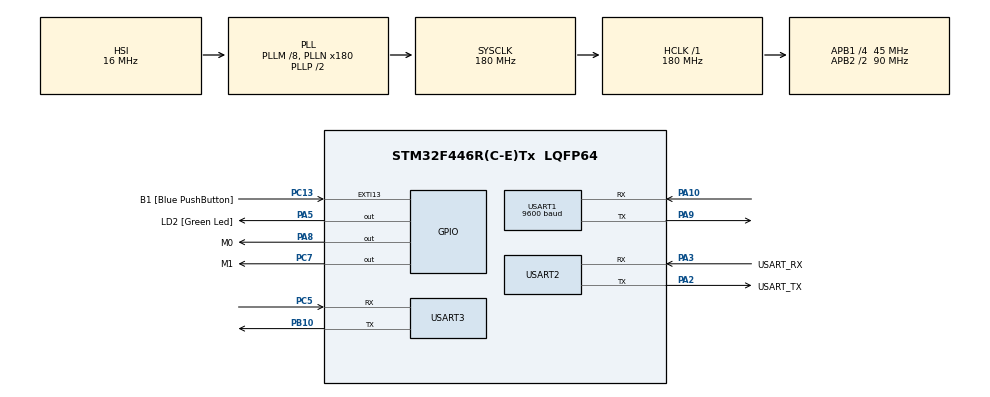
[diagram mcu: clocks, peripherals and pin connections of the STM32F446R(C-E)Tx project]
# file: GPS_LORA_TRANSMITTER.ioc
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Mcu.Family=STM32F4
Mcu.Name=STM32F446R(C-E)Tx
Mcu.Package=LQFP64
NVIC.PriorityGroup=NVIC_PRIORITYGROUP_0
NVIC.USART1_IRQn=true\:0\:0\:false\:false\:true\:true\:true\:true
NVIC.USART3_IRQn=true\:0\:0\:false\:false\:true\:true\:true\:true
PA10.Mode=Asynchronous
PA10.Signal=USART1_RX
PA13.GPIO_Label=TMS
PA13.Mode=Serial_Wire
PA13.Signal=SYS_JTMS-SWDIO
PA14.GPIO_Label=TCK
PA14.Mode=Serial_Wire
PA14.Signal=SYS_JTCK-SWCLK
PA2.GPIO_Label=USART_TX
PA2.Mode=Asynchronous
PA2.Signal=USART2_TX
PA3.GPIO_Label=USART_RX
PA3.Mode=Asynchronous
PA3.Signal=USART2_RX
PA5.GPIO_Label=LD2 [Green Led]
PA5.Signal=GPIO_Output
PA8.GPIO_Label=M0
PA8.Signal=GPIO_Output
PA9.Mode=Asynchronous
PA9.Signal=USART1_TX
PB10.Mode=Asynchronous
PB10.Signal=USART3_TX
PB3.GPIO_Label=SWO
PB3.Signal=SYS_JTDO-SWO
PC13.GPIO_Label=B1 [Blue PushButton]
PC13.GPIO_ModeDefaultEXTI=GPIO_MODE_IT_FALLING
PC13.Signal=GPXTI13
PC14-OSC32_IN.Mode=LSE-External-Oscillator
PC14-OSC32_IN.Signal=RCC_OSC32_IN
PC15-OSC32_OUT.Mode=LSE-External-Oscillator
PC15-OSC32_OUT.Signal=RCC_OSC32_OUT
PC5.Mode=Asynchronous
PC5.Signal=USART3_RX
PC7.GPIO_Label=M1
PC7.Signal=GPIO_Output
PH0-OSC_IN.Mode=HSE-External-Oscillator
PH0-OSC_IN.Signal=RCC_OSC_IN
PH1-OSC_OUT.Mode=HSE-External-Oscillator
PH1-OSC_OUT.Signal=RCC_OSC_OUT
ProjectManager.HeapSize=0x200
ProjectManager.StackSize=0x400
ProjectManager.TargetToolchain=STM32CubeIDE
RCC.48MHZClocksFreq_Value=84000000
RCC.AHBFreq_Value=180000000
RCC.APB1CLKDivider=RCC_HCLK_DIV4
RCC.APB1Freq_Value=45000000
RCC.APB1TimFreq_Value=90000000
RCC.APB2CLKDivider=RCC_HCLK_DIV2
RCC.APB2Freq_Value=90000000
RCC.APB2TimFreq_Value=180000000
RCC.CortexFreq_Value=180000000
RCC.FLatency-AdvancedSettings=FLASH_LATENCY_5
RCC.HCLKFreq_Value=180000000
RCC.HSE_VALUE=8000000
RCC.HSI_VALUE=16000000
RCC.PLLM=8
RCC.PLLN=180
RCC.SYSCLKFreq_VALUE=180000000
RCC.SYSCLKSource=RCC_SYSCLKSOURCE_PLLCLK
RCC.USBFreq_Value=180000000
RCC.VCOOutputFreq_Value=360000000
USART1.BaudRate=9600
USART1.VirtualMode=VM_ASYNC
USART2.VirtualMode=VM_ASYNC
USART3.VirtualMode=VM_ASYNC
board=NUCLEO-F446RE

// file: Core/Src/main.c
/* USER CODE BEGIN Header */
/**
  ******************************************************************************
  * @file           : main.c
  * @brief          : Main program body
  ******************************************************************************
  * @attention
  *
  * Copyright (c) 2024 STMicroelectronics.
  * All rights reserved.
  *
  * This software is licensed under terms that can be found in the LICENSE file
  * in the root directory of this software component.
  * If no LICENSE file comes with this software, it is provided AS-IS.
  *
  ******************************************************************************
  */
/* USER CODE END Header */
#include "main.h"

/* USER CODE BEGIN Includes */
#include "stdint.h"
#include "stdio.h"

/* USER CODE END Includes */

UART_HandleTypeDef huart1;
UART_HandleTypeDef huart2;
UART_HandleTypeDef huart3;

/* USER CODE BEGIN PV */
float Latitude_MSB=0;
float Latitude_LSB=0;
float Latitude=0;
float longitude_LSB=0;
float longitude_MSB=0;
float Longitude=0;
float HDOP=0;
float Altitude=0;
uint8_t LAT_Start= 18;
uint8_t LON_Start=30;
uint8_t DOP_Start=48;
uint8_t Altitude_Start=53;
uint8_t Set_in_Use=0;
uint8_t Set_in_Use_Start=45;
uint8_t Big_Buffer[75];
uint8_t Little_Buffer[1]={0};
uint8_t Chr_check_ctr=0;
uint8_t Data_check_ctr=0;
uint8_t Lock=0;

uint8_t Latitude_1[2]={0};
uint8_t Latitude_2[7]={0};
uint8_t Longitude_1[3]={0};
uint8_t Longitude_2[7]={0};
uint8_t Settilite_In_Use[2]={0};
uint8_t DOP_Array[4]={0};
uint8_t Altitude_Array[6]={0};
char PMTK_BOUD_RATE[20]={"$PMTK251,115200*1F\r\n"};
char PMTK_Refresh_rate[17]={"$PMTK220,100*2F\r\n"};
char PMTK_Set_only_GPGGA[51]={"$PMTK314,0,0,0,1,0,0,0,0,0,0,0,0,0,0,0,0,0,0,0*29\r\n"};
char PMTK_Set_only_GPPLL[51]={"$PMTK314,1,0,0,0,0,0,0,0,0,0,0,0,0,0,0,0,0,0,0*29\r\n"};
char PMTK_Set_only_RMC[51]=  {"$PMTK314,0,1,0,0,0,0,0,0,0,0,0,0,0,0,0,0,0,0,0*29\r\n"};
char PMTK_set_deffultNMEA[16]={"$PMTK314,-1*04\r\n"};

uint8_t Lt_LR_Buffer[1]={0};
uint8_t  Big_LR_Buffer[5];
uint8_t check_counter=0;
uint8_t D_check_count=0;

uint8_t data_D[1];

uint8_t Fixed[3]={0x00,0x16,0x12};

/* USER CODE END PV */

void SystemClock_Config(void);
static void MX_GPIO_Init(void);
static void MX_USART2_UART_Init(void);
static void MX_USART1_UART_Init(void);
static void MX_USART3_UART_Init(void);

int main(void)
{

  /* MCU Configuration--------------------------------------------------------*/

  /* Reset of all peripherals, Initializes the Flash interface and the Systick. */
  HAL_Init();

  /* Configure the system clock */
  SystemClock_Config();

  /* Initialize all configured peripherals */
  MX_GPIO_Init();
  MX_USART2_UART_Init();
  MX_USART1_UART_Init();
  MX_USART3_UART_Init();
  /* USER CODE BEGIN 2 */
  //HAL_UART_Transmit(&huart1, (uint8_t*)PMTK_Set_only_GPGGA,51,200);
  HAL_Delay(500);
  HAL_UART_Transmit(&huart1, (uint8_t*)PMTK_BOUD_RATE, 20,200);
  HAL_Delay(200);
  huart1.Init.BaudRate=115200;

  if (HAL_UART_Init(&huart1) != HAL_OK)
    {
      Error_Handler();
    }
  HAL_UART_Transmit(&huart1, (uint8_t*)PMTK_Refresh_rate, 17,200);

  HAL_Delay(200);

  HAL_UART_Receive_IT(&huart1,  Little_Buffer, sizeof(Little_Buffer));
  HAL_UART_Receive_IT(&huart3, Lt_LR_Buffer, sizeof(Lt_LR_Buffer));

  HAL_GPIO_WritePin(GPIOA,GPIO_PIN_8,SET);
  HAL_GPIO_WritePin(GPIOC, GPIO_PIN_7, RESET);

  data_D[0]=0x12;
  /* USER CODE END 2 */

  /* Infinite loop */
  while (1)
  {

    /* USER CODE BEGIN 3 */
	  if(Set_in_Use>4){

		  HAL_GPIO_WritePin(GPIOA, GPIO_PIN_5, SET);

	  }
	  else{		  HAL_GPIO_WritePin(GPIOA, GPIO_PIN_5, RESET);
}
	  if(check_counter==0){
			HAL_UART_Transmit(&huart3, Fixed, sizeof(Fixed), 100);
			HAL_UART_Transmit(&huart3, data_D, sizeof(data_D), 100);

	  }
  }
  /* USER CODE END 3 */
}

void SystemClock_Config(void)
{
  RCC_OscInitTypeDef RCC_OscInitStruct = {0};
  RCC_ClkInitTypeDef RCC_ClkInitStruct = {0};

  /** Configure the main internal regulator output voltage
  */
  __HAL_RCC_PWR_CLK_ENABLE();
  __HAL_PWR_VOLTAGESCALING_CONFIG(PWR_REGULATOR_VOLTAGE_SCALE1);

  /** Initializes the RCC Oscillators according to the specified parameters
  * in the RCC_OscInitTypeDef structure.
  */
  RCC_OscInitStruct.OscillatorType = RCC_OSCILLATORTYPE_HSI;
  RCC_OscInitStruct.HSIState = RCC_HSI_ON;
  RCC_OscInitStruct.HSICalibrationValue = RCC_HSICALIBRATION_DEFAULT;
  RCC_OscInitStruct.PLL.PLLState = RCC_PLL_ON;
  RCC_OscInitStruct.PLL.PLLSource = RCC_PLLSOURCE_HSI;
  RCC_OscInitStruct.PLL.PLLM = 8;
  RCC_OscInitStruct.PLL.PLLN = 180;
  RCC_OscInitStruct.PLL.PLLP = RCC_PLLP_DIV2;
  RCC_OscInitStruct.PLL.PLLQ = 2;
  RCC_OscInitStruct.PLL.PLLR = 2;
  if (HAL_RCC_OscConfig(&RCC_OscInitStruct) != HAL_OK)
  {
    Error_Handler();
  }

  /** Activate the Over-Drive mode
  */
  if (HAL_PWREx_EnableOverDrive() != HAL_OK)
  {
    Error_Handler();
  }

  /** Initializes the CPU, AHB and APB buses clocks
  */
  RCC_ClkInitStruct.ClockType = RCC_CLOCKTYPE_HCLK|RCC_CLOCKTYPE_SYSCLK
                              |RCC_CLOCKTYPE_PCLK1|RCC_CLOCKTYPE_PCLK2;
  RCC_ClkInitStruct.SYSCLKSource = RCC_SYSCLKSOURCE_PLLCLK;
  RCC_ClkInitStruct.AHBCLKDivider = RCC_SYSCLK_DIV1;
  RCC_ClkInitStruct.APB1CLKDivider = RCC_HCLK_DIV4;
  RCC_ClkInitStruct.APB2CLKDivider = RCC_HCLK_DIV2;

  if (HAL_RCC_ClockConfig(&RCC_ClkInitStruct, FLASH_LATENCY_5) != HAL_OK)
  {
    Error_Handler();
  }
}

static void MX_USART1_UART_Init(void)
{

  huart1.Instance = USART1;
  huart1.Init.BaudRate = 9600;
  huart1.Init.WordLength = UART_WORDLENGTH_8B;
  huart1.Init.StopBits = UART_STOPBITS_1;
  huart1.Init.Parity = UART_PARITY_NONE;
  huart1.Init.Mode = UART_MODE_TX_RX;
  huart1.Init.HwFlowCtl = UART_HWCONTROL_NONE;
  huart1.Init.OverSampling = UART_OVERSAMPLING_16;
  if (HAL_UART_Init(&huart1) != HAL_OK)
  {
    Error_Handler();
  }

}

static void MX_USART2_UART_Init(void)
{

  huart2.Instance = USART2;
  huart2.Init.BaudRate = 115200;
  huart2.Init.WordLength = UART_WORDLENGTH_8B;
  huart2.Init.StopBits = UART_STOPBITS_1;
  huart2.Init.Parity = UART_PARITY_NONE;
  huart2.Init.Mode = UART_MODE_TX_RX;
  huart2.Init.HwFlowCtl = UART_HWCONTROL_NONE;
  huart2.Init.OverSampling = UART_OVERSAMPLING_16;
  if (HAL_UART_Init(&huart2) != HAL_OK)
  {
    Error_Handler();
  }

}

static void MX_USART3_UART_Init(void)
{

  huart3.Instance = USART3;
  huart3.Init.BaudRate = 115200;
  huart3.Init.WordLength = UART_WORDLENGTH_8B;
  huart3.Init.StopBits = UART_STOPBITS_1;
  huart3.Init.Parity = UART_PARITY_NONE;
  huart3.Init.Mode = UART_MODE_TX_RX;
  huart3.Init.HwFlowCtl = UART_HWCONTROL_NONE;
  huart3.Init.OverSampling = UART_OVERSAMPLING_16;
  if (HAL_UART_Init(&huart3) != HAL_OK)
  {
    Error_Handler();
  }

}

static void MX_GPIO_Init(void)
{
  GPIO_InitTypeDef GPIO_InitStruct = {0};

  /* GPIO Ports Clock Enable */
  __HAL_RCC_GPIOC_CLK_ENABLE();
  __HAL_RCC_GPIOH_CLK_ENABLE();
  __HAL_RCC_GPIOA_CLK_ENABLE();
  __HAL_RCC_GPIOB_CLK_ENABLE();

  /*Configure GPIO pin Output Level */
  HAL_GPIO_WritePin(GPIOA, LD2_Pin|M0_Pin, GPIO_PIN_RESET);

  /*Configure GPIO pin Output Level */
  HAL_GPIO_WritePin(M1_GPIO_Port, M1_Pin, GPIO_PIN_RESET);

  /*Configure GPIO pin : B1_Pin */
  GPIO_InitStruct.Pin = B1_Pin;
  GPIO_InitStruct.Mode = GPIO_MODE_IT_FALLING;
  GPIO_InitStruct.Pull = GPIO_NOPULL;
  HAL_GPIO_Init(B1_GPIO_Port, &GPIO_InitStruct);

  /*Configure GPIO pins : LD2_Pin M0_Pin */
  GPIO_InitStruct.Pin = LD2_Pin|M0_Pin;
  GPIO_InitStruct.Mode = GPIO_MODE_OUTPUT_PP;
  GPIO_InitStruct.Pull = GPIO_NOPULL;
  GPIO_InitStruct.Speed = GPIO_SPEED_FREQ_LOW;
  HAL_GPIO_Init(GPIOA, &GPIO_InitStruct);

  /*Configure GPIO pin : M1_Pin */
  GPIO_InitStruct.Pin = M1_Pin;
  GPIO_InitStruct.Mode = GPIO_MODE_OUTPUT_PP;
  GPIO_InitStruct.Pull = GPIO_NOPULL;
  GPIO_InitStruct.Speed = GPIO_SPEED_FREQ_LOW;
  HAL_GPIO_Init(M1_GPIO_Port, &GPIO_InitStruct);

}

/* USER CODE BEGIN 4 */
void HAL_UART_RxCpltCallback(UART_HandleTypeDef *huart)
{
	/*Big_Buffer[Chr_check_ctr++]=Little_Buffer[0];
	if(Chr_check_ctr==75){
		Chr_check_ctr=0;
	}*/

	if(huart == &huart1 && Lock==0) {
		if(Little_Buffer[0]=='$' && Chr_check_ctr==0 && Data_check_ctr==0 ){
			Big_Buffer[0]=Little_Buffer[0];
			Chr_check_ctr++;
	}
		else if(Little_Buffer[0]=='G' && Chr_check_ctr==1 && Data_check_ctr==0 &&Big_Buffer[0]=='$'){

			Big_Buffer[1]=Little_Buffer[0];
			Chr_check_ctr++;
	}
		else if(Little_Buffer[0]=='N' && Chr_check_ctr==2 && Data_check_ctr==0 &&Big_Buffer[1]=='G'){

			Big_Buffer[2]=Little_Buffer[0];
			Chr_check_ctr++;
		}
		else if(Little_Buffer[0]=='G' && Chr_check_ctr==3 && Data_check_ctr==0 &&Big_Buffer[2]=='N'){

			Big_Buffer[3]=Little_Buffer[0];
			Chr_check_ctr++;
		}
		else if(Little_Buffer[0]=='G' && Chr_check_ctr==4 && Data_check_ctr==0 &&Big_Buffer[3]=='G'){

			Big_Buffer[4]=Little_Buffer[0];
			Chr_check_ctr++;
		}
		else if(Little_Buffer[0]=='A' && Chr_check_ctr==5 && Data_check_ctr==0 &&Big_Buffer[4]=='G'){

			Big_Buffer[5]=Little_Buffer[0];
			Chr_check_ctr++;
			Data_check_ctr++;
		}
		else if(Data_check_ctr==1 && Chr_check_ctr>=6){

			Big_Buffer[Chr_check_ctr++]=Little_Buffer[0];

		}
		else{

		}

	if( Little_Buffer[0]=='\n'){
		Data_check_ctr=0;
		Chr_check_ctr=0;
		Lock=1;
	}

	if(Lock==1){
		for(int i=0;i<2;i++){
		Latitude_1[i]=Big_Buffer[LAT_Start++];

		}
		for(int i=0;i<7;i++){
		Latitude_2[i]=Big_Buffer[LAT_Start++];
		}
		sscanf(Latitude_1,"%f",&Latitude_MSB);
		sscanf(Latitude_2,"%f",&Latitude_LSB);

		Latitude=Latitude_MSB+(Latitude_LSB/60);
		LAT_Start=18;

		for(int i=0;i<3;i++){
				Longitude_1[i]=Big_Buffer[LON_Start++];

				}
				for(int i=0;i<7;i++){
				Longitude_2[i]=Big_Buffer[LON_Start++];
				}
				sscanf(Longitude_1,"%f",&longitude_MSB);
				sscanf(Longitude_2,"%f",&longitude_LSB);

				Longitude=longitude_MSB+(longitude_LSB/60);
				LON_Start=30;

				for(int i=0;i<2;i++){
					Settilite_In_Use[i]=Big_Buffer[Set_in_Use_Start++];

				}
				sscanf(Settilite_In_Use,"%d",&Set_in_Use);
				Set_in_Use_Start=45;
				for(int i=0;i<4;i++){
					DOP_Array[i]=Big_Buffer[DOP_Start++];
				}
				DOP_Start=48;
				sscanf(DOP_Array,"%f",&HDOP);

				for(int i=0;i<6;i++){
					Altitude_Array[i]=Big_Buffer[Altitude_Start++];
				}
				Altitude_Start=53;
				sscanf(Altitude_Array,"%f",&Altitude);

				Lock=0;

	}

}

	if(huart==&huart3){

			if(Lt_LR_Buffer[0]==0x55 && check_counter==0 && D_check_count==0 ){
				Big_LR_Buffer[0]=Lt_LR_Buffer[0];
				check_counter=1;
			}
			else if (Lt_LR_Buffer[0]==0x55 && check_counter==1 && D_check_count==0 && Big_LR_Buffer[0]==0X55){
				Big_LR_Buffer[1]=Lt_LR_Buffer[0];
				check_counter=2;
				D_check_count=1;
			}
			else if(D_check_count==1 && check_counter>=2 && Lt_LR_Buffer[0]!=0x55){
				Big_LR_Buffer[check_counter++]=Lt_LR_Buffer[0];

				}
			if(check_counter>=5){
				check_counter=0;
				D_check_count=0;

			}
		}

	HAL_UART_Receive_IT(&huart3, Lt_LR_Buffer, sizeof(Lt_LR_Buffer));
	HAL_UART_Receive_IT(&huart1, Little_Buffer, sizeof(Little_Buffer));

}
/* USER CODE END 4 */

void Error_Handler(void)
{
  __disable_irq();
  while (1)
  {
  }
}
